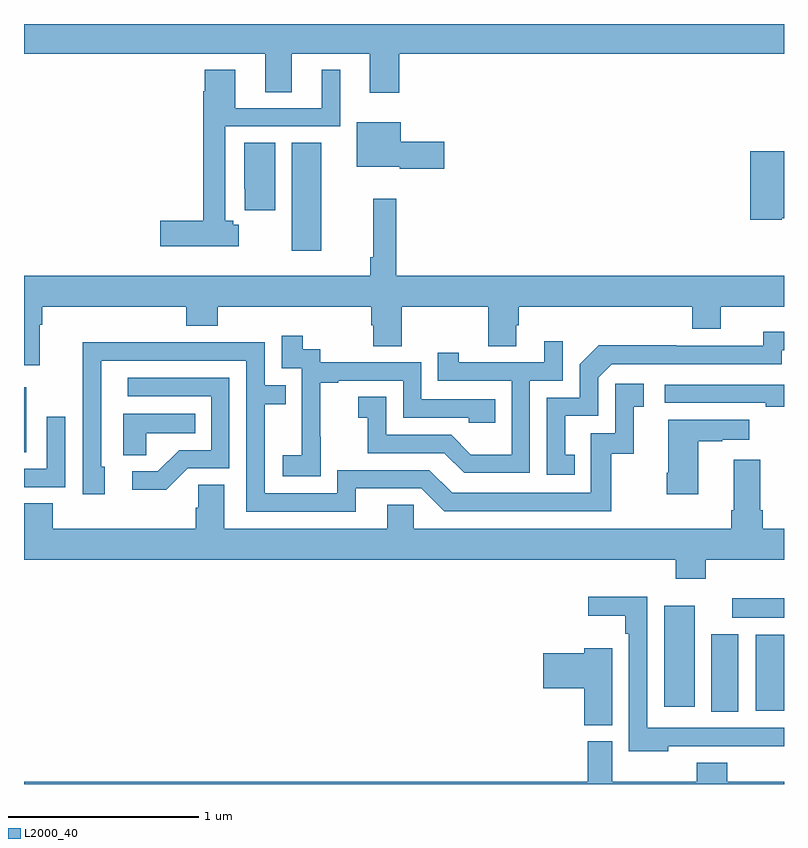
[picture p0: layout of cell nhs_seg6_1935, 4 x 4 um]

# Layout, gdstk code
import gdstk
lib = gdstk.Library(unit=1e-6, precision=1e-09)
def R(c, l, rs):  # rectangles x0, y0, x1, y1
    for r in rs: c.add(gdstk.rectangle(r[:2], r[2:], *l))
def P(c, l, *ps):  # polygons
    for p in ps: c.add(gdstk.Polygon(p, *l))
L2000_40 = (2000, 40)

nhs_seg6_1935 = lib.new_cell('nhs_seg6_1935')
R(nhs_seg6_1935, L2000_40, [(230.618,935.881,230.758,936.289), (230.852,935.885,231,936.286), (230.369,935.907,230.53,936.439), (230.727,936.374,231,936.478), (227,937.247,227.011,937.587), (228.41,938.307,228.565,938.876)])
P(nhs_seg6_1935, L2000_40, [(228.974,939.344),(231,939.344),(231,939.5),(227,939.5),(227,939.344),(228.269,939.344),(228.269,939.142),(228.409,939.142),(228.409,939.344),(228.821,939.344),(228.821,939.138),(228.974,939.138)],
  [(228.131,938.444),(228.102,938.444),(228.102,938.464),(228.06,938.464),(228.06,938.961),(228.664,938.961),(228.664,939.259),(228.566,939.259),(228.566,939.057),(228.112,939.057),(228.112,939.259),(227.951,939.259),(227.951,939.146),(227.944,939.146),(227.944,938.465),(227.718,938.465),(227.718,938.33),(228.131,938.33)],
  [(229.213,938.88),(228.982,938.88),(228.982,938.983),(228.752,938.983),(228.752,938.75),(228.978,938.75),(228.978,938.738),(229.213,938.738)],
  [(228.322,938.876),(228.158,938.876),(228.158,938.632),(228.161,938.632),(228.161,938.52),(228.322,938.52)],
  [(230.988,938.478),(231,938.478),(231,938.83),(230.822,938.83),(230.822,938.47),(230.988,938.47)],
  [(228.959,938.581),(228.838,938.581),(228.838,938.272),(228.823,938.272),(228.823,938.176),(227,938.176),(227,937.703),(227.083,937.703),(227.083,937.916),(227.096,937.916),(227.096,938.012),(227.855,938.012),(227.855,937.913),(228.02,937.913),(228.02,938.012),(228.827,938.012),(228.827,937.914),(228.839,937.914),(228.839,937.804),(228.987,937.804),(228.987,938.012),(229.444,938.012),(229.444,937.804),(229.591,937.804),(229.591,937.914),(229.604,937.914),(229.604,938.012),(230.516,938.012),(230.516,937.895),(230.668,937.895),(230.668,938.012),(231,938.012),(231,938.176),(228.959,938.176)],
  [(229.898,937.233),(229.849,937.233),(229.849,937.437),(230.022,937.437),(230.022,937.638),(230.094,937.71),(230.988,937.71),(230.988,937.782),(231,937.782),(231,937.879),(230.892,937.879),(230.892,937.806),(230.432,937.806),(230.432,937.808),(230.024,937.808),(229.926,937.71),(229.926,937.533),(229.752,937.533),(229.752,937.128),(229.898,937.128)],
  [(228.561,937.327),(228.56,937.327),(228.56,937.611),(228.655,937.611),(228.655,937.623),(228.996,937.623),(228.996,937.428),(229.341,937.428),(229.341,937.401),(229.481,937.401),(229.481,937.524),(229.092,937.524),(229.092,937.719),(228.558,937.719),(228.558,937.788),(228.466,937.788),(228.466,937.858),(228.357,937.858),(228.357,937.689),(228.462,937.689),(228.462,937.46),(228.461,937.46),(228.461,937.231),(228.363,937.231),(228.363,937.121),(228.561,937.121)],
  [(229.662,937.623),(229.836,937.623),(229.836,937.831),(229.739,937.831),(229.739,937.719),(229.288,937.719),(229.288,937.771),(229.177,937.771),(229.177,937.623),(229.566,937.623),(229.566,937.234),(229.352,937.234),(229.248,937.338),(228.906,937.338),(228.906,937.537),(228.759,937.537),(228.759,937.427),(228.808,937.427),(228.808,937.242),(229.211,937.242),(229.316,937.137),(229.662,937.137)],
  [(228.745,937.056),(229.092,937.056),(229.212,936.936),(230.092,936.936),(230.092,937.239),(230.21,937.239),(230.21,937.485),(230.263,937.485),(230.263,937.606),(230.112,937.606),(230.112,937.347),(229.983,937.347),(229.983,937.032),(229.254,937.032),(229.134,937.152),(228.648,937.152),(228.648,937.029),(228.267,937.029),(228.267,937.498),(228.377,937.498),(228.377,937.599),(228.267,937.599),(228.267,937.824),(227.771,937.824),(227.771,937.826),(227.308,937.826),(227.308,937.519),(227.31,937.519),(227.31,937.026),(227.425,937.026),(227.425,937.17),(227.406,937.17),(227.406,937.728),(228.171,937.728),(228.171,936.933),(228.745,936.933)],
  [(227.862,937.161),(228.081,937.161),(228.081,937.638),(227.547,937.638),(227.547,937.542),(227.985,937.542),(227.985,937.257),(227.816,937.257),(227.705,937.146),(227.571,937.146),(227.571,937.049),(227.749,937.049)],
  [(231,937.602),(230.373,937.602),(230.373,937.506),(230.905,937.506),(230.905,937.486),(231,937.486)],
  [(227.643,937.346),(227.9,937.346),(227.9,937.45),(227.522,937.45),(227.522,937.231),(227.643,937.231)],
  [(227.217,937.432),(227.121,937.432),(227.121,937.158),(227,937.158),(227,937.062),(227.217,937.062)],
  [(230.548,937.303),(230.675,937.303),(230.675,937.313),(230.818,937.313),(230.818,937.417),(230.39,937.417),(230.39,937.138),(230.383,937.138),(230.383,937.026),(230.548,937.026)],
  [(230.589,936.68),(231,936.68),(231,936.844),(230.888,936.844),(230.888,936.94),(230.875,936.94),(230.875,937.207),(230.735,937.207),(230.735,936.94),(230.723,936.94),(230.723,936.844),(229.05,936.844),(229.05,936.971),(228.911,936.971),(228.911,936.844),(228.055,936.844),(228.055,937.076),(227.916,937.076),(227.916,936.953),(227.903,936.953),(227.903,936.844),(227.15,936.844),(227.15,936.977),(227,936.977),(227,936.68),(230.429,936.68),(230.429,936.581),(230.589,936.581)],
  [(230.391,935.7),(230.785,935.7),(230.785,935.699),(231,935.699),(231,935.796),(230.28,935.796),(230.28,936.485),(229.971,936.485),(229.971,936.386),(230.164,936.386),(230.164,936.29),(230.184,936.29),(230.184,935.672),(230.391,935.672)],
  [(230.095,936.214),(229.949,936.214),(229.949,936.188),(229.734,936.188),(229.734,936.005),(229.949,936.005),(229.949,935.809),(230.095,935.809)],
  [(231,935.512),(230.702,935.512),(230.702,935.611),(230.542,935.611),(230.542,935.512),(230.095,935.512),(230.095,935.724),(229.967,935.724),(229.967,935.512),(227,935.512),(227,935.5),(231,935.5)])

lib.write_gds('nhs_seg6_1935.gds')
